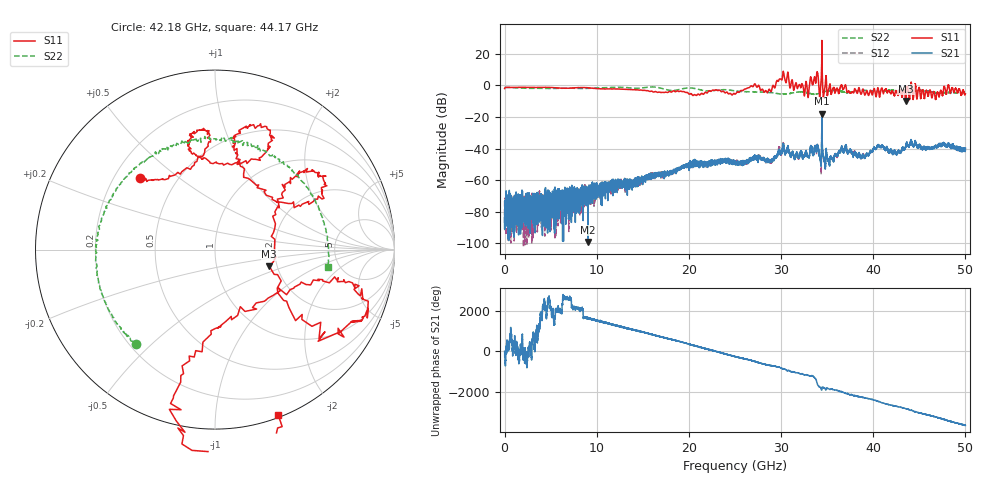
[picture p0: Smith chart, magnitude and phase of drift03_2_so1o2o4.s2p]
!Created with skrf (http://scikit-rf.org).
# Hz S RI R 50.0
!freq ReS11 ImS11 ReS21 ImS21 ReS12 ImS12 ReS22 ImS22
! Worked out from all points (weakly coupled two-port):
!   10000 points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, 5.3 MHz to 50 GHz, reference 50 ohm
!   highest |S21| = -17.93 dB at 34.43 GHz (marker M1); lowest = -99.1 dB at 9.045 GHz (marker M2)
!   lowest |S11| = -10.0 dB at 43.56 GHz (marker M3), VSWR 1.92, Z = 90.8 - j18.6 ohm
!   |S11| at or under -10 dB: 43.55498 GHz to 43.55506 GHz (78.02 kHz wide, 0.000179 % of centre)
!   |S22| runs from -5.8 to -1.1 dB; largest |S21 - S12| = 0.027
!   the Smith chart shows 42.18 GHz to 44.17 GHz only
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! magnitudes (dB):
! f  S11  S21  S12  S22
! 5.3 MHz  -2.1  -81.6  -73.1  -1.3
! 4.045 GHz  -1.4  -78.6  -77.6  -2.0
! 8.34 GHz  -1.5  -66.6  -65.6  -2.1
! 9.045 GHz  -1.6  -99.1  -65.3  -2.0
! 16.67 GHz  -4.5  -55.0  -56.3  -1.5
! 20.41 GHz  -6.4  -48.8  -49.9  -1.8
! 25.01 GHz  -5.6  -48.2  -49.4  -3.6
! 27.02 GHz  -0.4  -45.5  -45.4  -4.2
! 28.72 GHz  -2.5  -47.7  -47.6  -4.5
! 30.14 GHz  4.2  -40.5  -40.8  -5.7
! 32.74 GHz  2.1  -43.0  -42.2  -4.7
! 33.34 GHz  2.4  -39.6  -40.4  -5.5
! 33.82 GHz  3.7  -42.0  -41.9  -5.7
! 34.43 GHz  28.3  -17.9  -19.3  -4.6
! 35.32 GHz  0.9  -46.4  -46.3  -3.4
! 36.83 GHz  -1.9  -42.1  -42.1  -4.2
! 38.85 GHz  -2.7  -43.9  -44.0  -3.2
! 40.59 GHz  -3.6  -38.1  -38.0  -4.1
! 41.67 GHz  -3.6  -42.2  -42.4  -3.4
! 42.75 GHz  -5.6  -41.6  -42.0  -3.7
! 43.56 GHz  -10.0  -38.3  -38.0  -4.1
! 50 GHz  -5.4  -39.7  -39.9  -4.6
